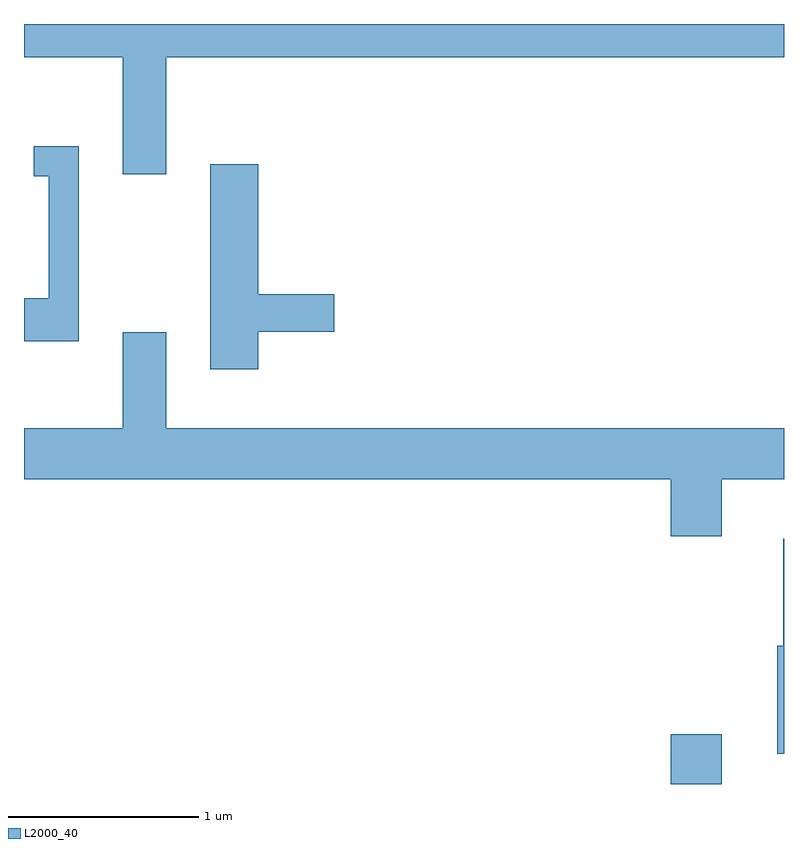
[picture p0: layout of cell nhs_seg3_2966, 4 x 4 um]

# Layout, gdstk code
import gdstk
lib = gdstk.Library(unit=1e-6, precision=1e-09)
def R(c, l, rs):  # rectangles x0, y0, x1, y1
    for r in rs: c.add(gdstk.rectangle(r[:2], r[2:], *l))
def P(c, l, *ps):  # polygons
    for p in ps: c.add(gdstk.Polygon(p, *l))
L2000_40 = (2000, 40)

nhs_seg3_2966 = lib.new_cell('nhs_seg3_2966')
R(nhs_seg3_2966, L2000_40, [(275.016,1199.892,275.284,1200.154)])
P(nhs_seg3_2966, L2000_40, [(272.359,1203.716),(275.611,1203.716),(275.611,1203.892),(271.611,1203.892),(271.611,1203.716),(272.131,1203.716),(272.131,1203.101),(272.359,1203.101)],
  [(271.899,1203.249),(271.663,1203.249),(271.663,1203.091),(271.741,1203.091),(271.741,1202.449),(271.611,1202.449),(271.611,1202.221),(271.899,1202.221)],
  [(272.844,1202.271),(273.244,1202.271),(273.244,1202.469),(272.844,1202.469),(272.844,1203.154),(272.591,1203.154),(272.591,1202.076),(272.844,1202.076)],
  [(275.284,1201.496),(275.611,1201.496),(275.611,1201.764),(272.359,1201.764),(272.359,1202.269),(272.131,1202.269),(272.131,1201.764),(271.611,1201.764),(271.611,1201.496),(275.016,1201.496),(275.016,1201.196),(275.284,1201.196)],
  [(275.611,1201.184),(275.606,1201.184),(275.606,1200.619),(275.576,1200.619),(275.576,1200.051),(275.611,1200.051)])

lib.write_gds('nhs_seg3_2966.gds')
